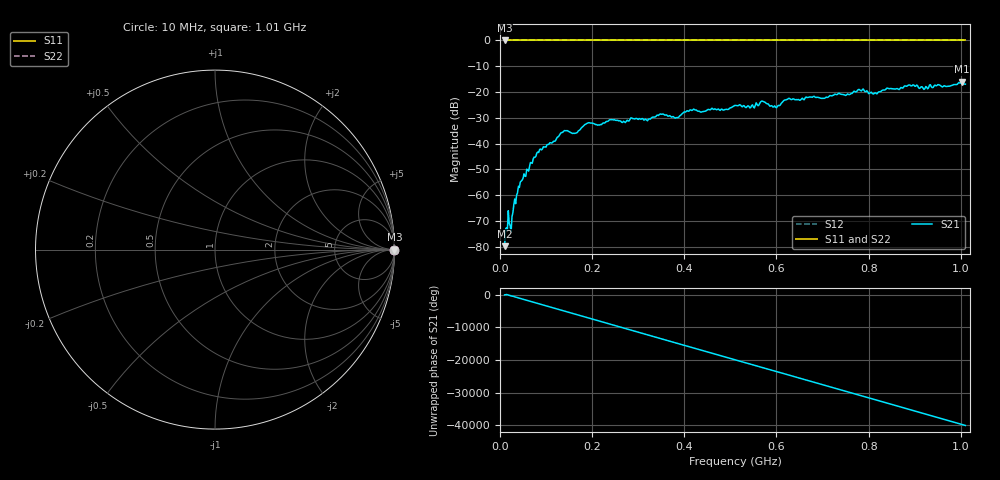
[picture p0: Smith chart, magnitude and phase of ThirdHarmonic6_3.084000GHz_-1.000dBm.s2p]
! 8/17/2025 9:03:10 AM
! C:\ANRITSUVNA\TEMP\TEMP.S2P
! CHANNEL.1
! TR.MEASUREMENT
! RAW.DATA
! RF.CORRECTION.OFF
! AVERAGING.OFF
! IF.BANDWIDTH: 5KHZ
! SWEEPTYPE:  FREQ.SWEEP(Linear)
! Reference Plane Port Info
! PORT:  PORT1  PORT2
! DISTANCE:  0  m  0  m
! TIME:  0  s  0  s
! PHASE.OFFSET:  0  deg.  0  deg.
! LOSS:  0  dB  0  dB
! REF.LOSS:  0  dB  0  dB
! REF.FREQ:  0  Hz  0  Hz
! Power Info
! POWER:  -20  dBm  -20  dBm
! EFF.POWER:  -20  dBm  -20  dBm
! SOURCE.ATTEN:  0  dB  0  dB
! TEST.ATTEN:  0  dB  0  dB
# GHZ S RI R 50.0
! FREQ.GHZ  S11RE  S11IM  S21RE  S21IM  S12RE  S12IM  S22RE  S22IM
!; PortSelection: Port_12
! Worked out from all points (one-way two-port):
!   501 points, 10 MHz to 1.01 GHz, reference 50 ohm
!   highest |S21| = -16.05 dB at 1.002 GHz (marker M1); lowest = -79.8 dB at 10 MHz (marker M2)
!   lowest |S11| = 0.0 dB at 10 MHz (marker M3)
!   |S11| at or under -10 dB: nowhere
!   |S22| runs from 0.0 to 0.0 dB; largest |S21 - S12| = 1.1
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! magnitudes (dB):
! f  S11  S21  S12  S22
! 10 MHz  0.0  -79.8  0.0  0.0
! 16 MHz  0.0  -73.9  0.0  0.0
! 24 MHz  0.0  -74.5  0.0  0.0
! 34 MHz  0.0  -63.4  0.0  0.0
! 44 MHz  0.0  -55.0  0.0  0.0
! 78 MHz  0.0  -44.9  0.0  0.0
! 136 MHz  0.0  -35.7  0.0  0.0
! 162 MHz  0.0  -36.1  0.0  0.0
! 178 MHz  0.0  -33.7  0.0  0.0
! 344 MHz  0.0  -29.1  0.0  0.0
! 384 MHz  0.0  -29.9  0.0  0.0
! 416 MHz  0.0  -27.2  0.0  0.0
! 510 MHz  0.0  -25.2  0.0  0.0
! 570 MHz  0.0  -23.6  0.0  0.0
! 596 MHz  0.0  -25.4  0.0  0.0
! 624 MHz  0.0  -22.8  0.0  0.0
! 678 MHz  0.0  -22.0  0.0  0.0
! 784 MHz  0.0  -19.6  0.0  0.0
! 814 MHz  0.0  -20.3  0.0  0.0
! 844 MHz  0.0  -18.7  0.0  0.0
! 1.002 GHz  0.0  -16.0  0.0  0.0
! 1.01 GHz  0.0  -17.0  0.0  0.0
